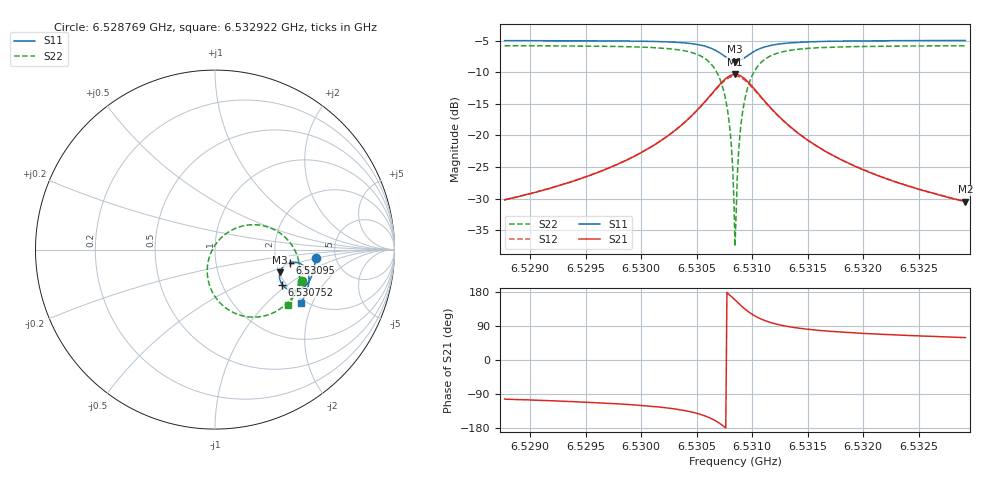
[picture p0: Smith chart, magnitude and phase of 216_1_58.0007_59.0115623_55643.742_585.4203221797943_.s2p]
#  HZ  S  RI  R  50.00
! Rohde & Schwarz Vector Network Analyzer
! Rohde-Schwarz,ZNB20-2Port,1311601062101988,3.16
! Created: UTC 3/21/2024, 12:59:57 AM
! freq[Hz]  re:S11  im:S11  re:S21  im:S21  re:S12  im:S12  re:S22  im:S22
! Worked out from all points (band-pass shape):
!   401 points, 6.528769 GHz to 6.532922 GHz, reference 50 ohm
!   highest |S21| = -10.34 dB at 6.530846 GHz (marker M1); lowest = -30.5 dB at 6.532922 GHz (marker M2)
!   |S21| within 3 dB of the highest: 6.530639 GHz to 6.531054 GHz (415.3 kHz wide, 0.00636 % of centre)
!   lowest |S11| = -8.3 dB at 6.530846 GHz (marker M3), VSWR 2.24, Z = 101 - j29.9 ohm
!   |S11| at or under -10 dB: nowhere
!   |S22| runs from -37.5 to -5.8 dB; largest |S21 - S12| = 0.012
!   S11 on the Smith chart (normalised r, x): 6.528769 GHz: 3.49, -0.50; 6.530752 GHz: 1.91, -0.91; 6.53095 GHz: 2.37, -0.42; 6.532922 GHz: 1.90, -1.66
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6.5287691e9  0.5603 -0.0489  -0.00689 -0.0301  -0.00778 -0.03  0.482 -0.1746
6.5294648e9  0.5511 -0.107  -0.0162 -0.0429  -0.0174 -0.0425  0.4504 -0.2382
6.5301604e9  0.5241 -0.1764  -0.0497 -0.0734  -0.0519 -0.0722  0.3684 -0.327
6.5303993e9  0.4978 -0.2068  -0.0891 -0.0928  -0.0919 -0.0897  0.2879 -0.366
6.5305758e9  0.4547 -0.2268  -0.1567 -0.0993  -0.1591 -0.0928  0.163 -0.3713
6.5306796e9  0.41 -0.2223  -0.2255 -0.0733  -0.225 -0.0636  0.0471 -0.3147
6.5307523e9  0.3749 -0.1955  -0.2766 -0.0151  -0.2708 -0.00507  -0.0277 -0.2076
6.5307938e9  0.3617 -0.1681  -0.2923 0.0374  -0.2835 0.0455  -0.0435 -0.1177
6.5308146e9  0.3593 -0.1517  -0.2928 0.0672  -0.2828 0.0737  -0.0386 -0.0689
6.530825e9  0.3594 -0.1435  -0.2909 0.0823  -0.2804 0.0879  -0.0326 -0.0445
6.5308353e9  0.3604 -0.1349  -0.2876 0.0972  -0.2768 0.102  -0.0241 -0.0207
6.5308457e9  0.3622 -0.1266  -0.2826 0.1121  -0.2717 0.1157  -0.0131 0.00257
6.5308561e9  0.3649 -0.1186  -0.2761 0.1262  -0.2654 0.1289  -4.87e-05 0.0242
6.5308665e9  0.3687 -0.111  -0.2686 0.1395  -0.2577 0.1414  0.015 0.0447
6.5308873e9  0.3781 -0.0971  -0.2497 0.1633  -0.2396 0.1634  0.0504 0.0799
6.5308976e9  0.3836 -0.0911  -0.239 0.1735  -0.2292 0.1729  0.07 0.0948
6.5309496e9  0.4163 -0.0724  -0.1793 0.2054  -0.1723 0.2025  0.1741 0.1357
6.5310222e9  0.4588 -0.0719  -0.1047 0.2075  -0.1009 0.2045  0.2995 0.1243
6.5311261e9  0.4963 -0.0936  -0.0404 0.177  -0.0385 0.1752  0.4026 0.0567
6.5315414e9  0.5236 -0.1727  0.0152 0.0857  0.0164 0.0852  0.4725 -0.1344
6.5322371e9  0.506 -0.2444  0.0175 0.0411  0.0183 0.0408  0.4429 -0.25
6.5329224e9  0.4803 -0.2963  0.0155 0.0257  0.0159 0.0256  0.4075 -0.3098
